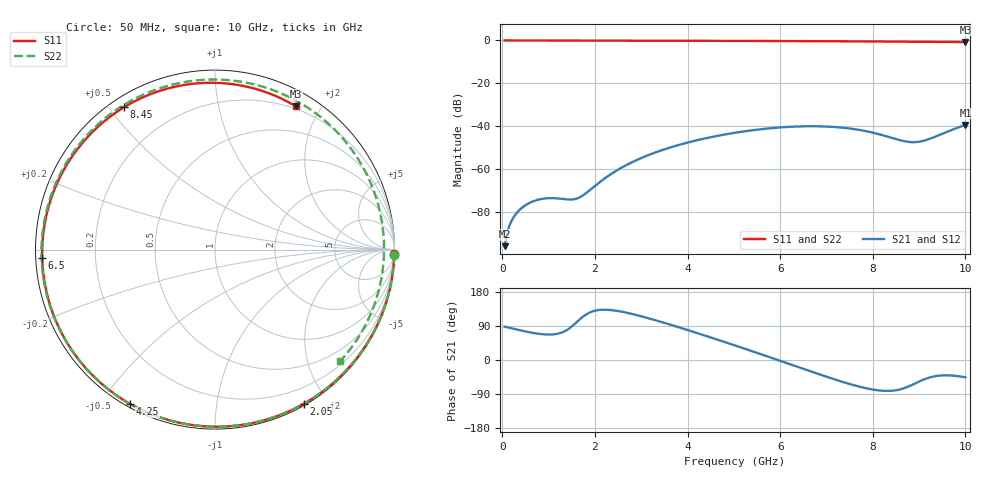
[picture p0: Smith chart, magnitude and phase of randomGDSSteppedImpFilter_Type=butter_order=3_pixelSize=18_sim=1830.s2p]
! freq	dB(S11)	phase(S11)	dB(S12)	phase(S12)
!  dB(S21)	phase(S21)	dB(S22)	phase(S22)
!S-par simulation data
#  GHz  S  DB  R 50
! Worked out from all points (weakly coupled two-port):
!   200 points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, 50 MHz to 10 GHz, reference 50 ohm
!   highest |S21| = -39.43 dB at 10 GHz (marker M1); lowest = -96.1 dB at 50 MHz (marker M2)
!   lowest |S11| = -0.8 dB at 10 GHz (marker M3), VSWR 22.91, Z = 8.51 + j84.8 ohm
!   |S11| at or under -10 dB: nowhere
!   |S22| runs from -0.6 to 0.0 dB; largest |S21 - S12| = 0
!   S11 on the Smith chart (normalised r, x): 50 MHz: 1, -75; 2.05 GHz: 0.02, -1.73; 4.25 GHz: 0.01, -0.59; 6.5 GHz: 0.02, -0.03; 8.45 GHz: 0.04, +0.55; 10 GHz: 0.17, +1.70
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0.05  -0.00 -1.5  -96.09 88.0  -96.09 88.0  -0.00 -1.7
0.35  -0.01 -10.6  -79.65 79.4  -79.65 79.4  -0.01 -11.7
0.55  -0.02 -16.6  -76.32 74.1  -76.32 74.1  -0.02 -18.3
0.8  -0.03 -24.0  -74.24 69.0  -74.24 69.0  -0.03 -26.6
1.5  -0.06 -44.5  -74.31 88.4  -74.31 88.4  -0.06 -49.5
1.75  -0.07 -51.6  -72.23 115.1  -72.23 115.1  -0.07 -57.6
2.05  -0.08 -60.1  -67.10 131.3  -67.10 131.3  -0.09 -67.3
2.65  -0.10 -76.7  -58.54 125.7  -58.54 125.7  -0.11 -86.7
3.4  -0.12 -96.7  -51.59 101.6  -51.59 101.6  -0.15 -111.0
4.25  -0.16 -118.7  -46.37 69.4  -46.37 69.4  -0.20 -139.5
5.05  -0.21 -139.1  -43.03 37.4  -43.03 37.4  -0.27 -168.5
5.8  -0.26 -158.4  -40.99 6.3  -40.99 6.3  -0.34 161.3
6.5  -0.32 -177.1  -40.11 -23.3  -40.11 -23.3  -0.41 129.5
6.7  -0.34 177.4  -40.06 -31.7  -40.06 -31.7  -0.43 119.7
7.1  -0.37 165.9  -40.32 -48.1  -40.32 -48.1  -0.46 99.3
7.5  -0.42 153.9  -41.12 -63.3  -41.12 -63.3  -0.48 78.1
7.9  -0.46 141.2  -42.59 -75.7  -42.59 -75.7  -0.49 56.7
8.35  -0.51 126.0  -45.10 -81.5  -45.10 -81.5  -0.50 32.8
8.45  -0.52 122.5  -45.74 -80.6  -45.74 -80.6  -0.51 27.7
9  -0.59 102.1  -47.30 -56.9  -47.30 -56.9  -0.52 0.6
9.5  -0.67 82.0  -43.60 -40.6  -43.60 -40.6  -0.55 -21.7
10  -0.76 60.7  -39.43 -45.6  -39.43 -45.6  -0.60 -41.7
